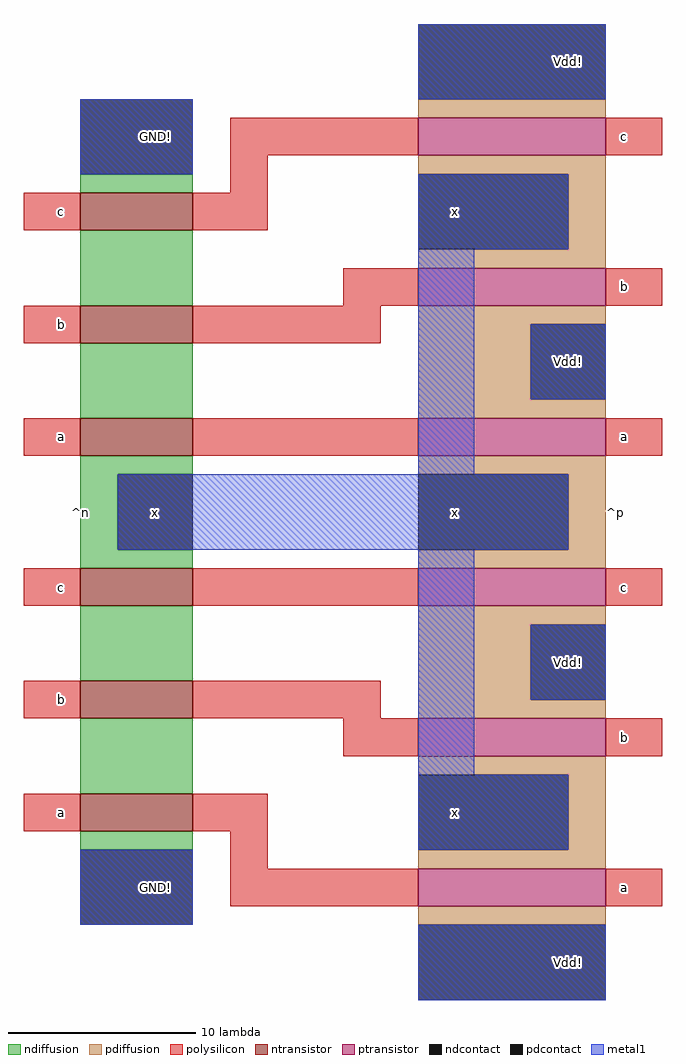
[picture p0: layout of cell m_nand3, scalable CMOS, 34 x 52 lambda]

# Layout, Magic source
magic
tech scmos
<< ndiffusion >>
rect 267 541 273 542
rect 267 535 273 539
rect 267 529 273 533
rect 267 526 273 527
rect 267 522 269 526
rect 267 521 273 522
rect 267 515 273 519
rect 267 509 273 513
rect 267 506 273 507
<< pdiffusion >>
rect 285 545 295 546
rect 285 542 295 543
rect 293 538 295 542
rect 285 537 295 538
rect 285 534 295 535
rect 285 530 291 534
rect 285 529 295 530
rect 285 526 295 527
rect 293 522 295 526
rect 285 521 295 522
rect 285 518 295 519
rect 285 514 291 518
rect 285 513 295 514
rect 285 510 295 511
rect 293 506 295 510
rect 285 505 295 506
rect 285 502 295 503
<< ntransistor >>
rect 267 539 273 541
rect 267 533 273 535
rect 267 527 273 529
rect 267 519 273 521
rect 267 513 273 515
rect 267 507 273 509
<< ptransistor >>
rect 285 543 295 545
rect 285 535 295 537
rect 285 527 295 529
rect 285 519 295 521
rect 285 511 295 513
rect 285 503 295 505
<< polysilicon >>
rect 275 543 285 545
rect 295 543 298 545
rect 275 541 277 543
rect 264 539 267 541
rect 273 539 277 541
rect 281 535 285 537
rect 295 535 298 537
rect 264 533 267 535
rect 273 533 283 535
rect 264 527 267 529
rect 273 527 285 529
rect 295 527 298 529
rect 264 519 267 521
rect 273 519 285 521
rect 295 519 298 521
rect 264 513 267 515
rect 273 513 283 515
rect 281 511 285 513
rect 295 511 298 513
rect 264 507 267 509
rect 273 507 277 509
rect 275 505 277 507
rect 275 503 285 505
rect 295 503 298 505
<< ndcontact >>
rect 267 542 273 546
rect 269 522 273 526
rect 267 502 273 506
<< pdcontact >>
rect 285 546 295 550
rect 285 538 293 542
rect 291 530 295 534
rect 285 522 293 526
rect 291 514 295 518
rect 285 506 293 510
rect 285 498 295 502
<< metal1 >>
rect 285 546 295 550
rect 267 542 273 546
rect 285 538 293 542
rect 285 526 288 538
rect 291 530 295 534
rect 269 522 293 526
rect 285 510 288 522
rect 291 514 295 518
rect 285 506 293 510
rect 267 502 273 506
rect 285 498 295 502
<< labels >>
rlabel polysilicon 266 540 266 540 3 c
rlabel polysilicon 266 534 266 534 3 b
rlabel polysilicon 266 528 266 528 3 a
rlabel polysilicon 266 508 266 508 3 a
rlabel polysilicon 266 514 266 514 3 b
rlabel polysilicon 266 520 266 520 3 c
rlabel space 264 501 270 547 7 ^n
rlabel space 292 497 299 551 3 ^p
rlabel polysilicon 296 504 296 504 7 a
rlabel polysilicon 296 512 296 512 7 b
rlabel polysilicon 296 520 296 520 7 c
rlabel polysilicon 296 528 296 528 7 a
rlabel polysilicon 296 536 296 536 7 b
rlabel polysilicon 296 544 296 544 7 c
rlabel ndcontact 271 524 271 524 1 x
rlabel ndcontact 271 544 271 544 1 GND!
rlabel ndcontact 271 504 271 504 1 GND!
rlabel pdcontact 293 516 293 516 5 Vdd!
rlabel pdcontact 293 532 293 532 5 Vdd!
rlabel pdcontact 287 508 287 508 1 x
rlabel pdcontact 287 524 287 524 1 x
rlabel pdcontact 287 540 287 540 1 x
rlabel pdcontact 293 500 293 500 1 Vdd!
rlabel pdcontact 293 548 293 548 1 Vdd!
<< end >>
